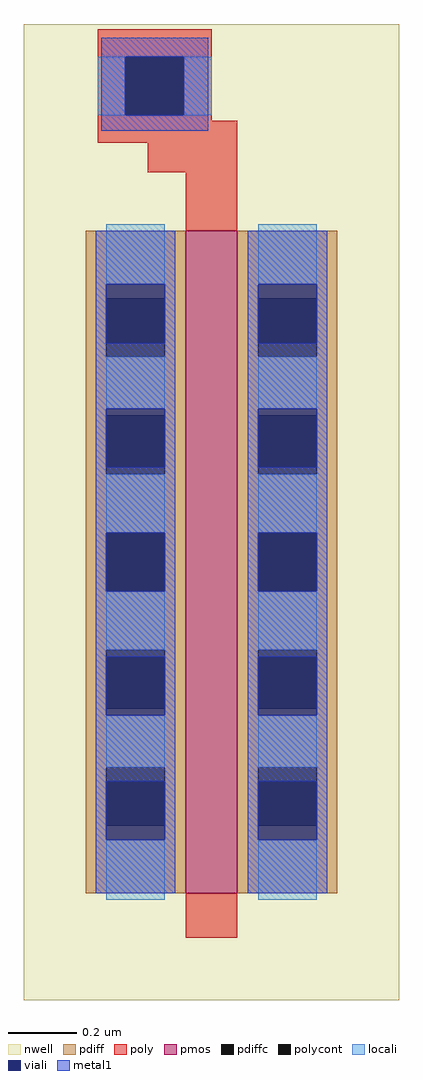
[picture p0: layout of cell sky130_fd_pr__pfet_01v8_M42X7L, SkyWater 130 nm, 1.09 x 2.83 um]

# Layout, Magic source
magic
tech sky130A
magscale 1 2
<< nwell >>
rect -109 -290 109 276
<< pmos >>
rect -15 -228 15 156
<< pdiff >>
rect -73 117 -15 156
rect -73 83 -61 117
rect -27 83 -15 117
rect -73 49 -15 83
rect -73 15 -61 49
rect -27 15 -15 49
rect -73 -19 -15 15
rect -73 -53 -61 -19
rect -27 -53 -15 -19
rect -73 -87 -15 -53
rect -73 -121 -61 -87
rect -27 -121 -15 -87
rect -73 -155 -15 -121
rect -73 -189 -61 -155
rect -27 -189 -15 -155
rect -73 -228 -15 -189
rect 15 117 73 156
rect 15 83 27 117
rect 61 83 73 117
rect 15 49 73 83
rect 15 15 27 49
rect 61 15 73 49
rect 15 -19 73 15
rect 15 -53 27 -19
rect 61 -53 73 -19
rect 15 -87 73 -53
rect 15 -121 27 -87
rect 61 -121 73 -87
rect 15 -155 73 -121
rect 15 -189 27 -155
rect 61 -189 73 -155
rect 15 -228 73 -189
<< pdiffc >>
rect -61 83 -27 117
rect -61 15 -27 49
rect -61 -53 -27 -19
rect -61 -121 -27 -87
rect -61 -189 -27 -155
rect 27 83 61 117
rect 27 15 61 49
rect 27 -53 61 -19
rect 27 -121 61 -87
rect 27 -189 61 -155
<< poly >>
rect -66 257 0 273
rect -66 223 -50 257
rect -16 223 0 257
rect -66 220 0 223
rect -66 207 15 220
rect -37 190 15 207
rect -15 156 15 190
rect -15 -254 15 -228
<< polycont >>
rect -50 223 -16 257
<< locali >>
rect -66 223 -50 257
rect -16 223 0 257
rect -61 125 -27 160
rect -61 53 -27 83
rect -61 -19 -27 15
rect -61 -87 -27 -53
rect -61 -155 -27 -125
rect -61 -232 -27 -197
rect 27 125 61 160
rect 27 53 61 83
rect 27 -19 61 15
rect 27 -87 61 -53
rect 27 -155 61 -125
rect 27 -232 61 -197
<< viali >>
rect -50 223 -16 257
rect -61 117 -27 125
rect -61 91 -27 117
rect -61 49 -27 53
rect -61 19 -27 49
rect -61 -53 -27 -19
rect -61 -121 -27 -91
rect -61 -125 -27 -121
rect -61 -189 -27 -163
rect -61 -197 -27 -189
rect 27 117 61 125
rect 27 91 61 117
rect 27 49 61 53
rect 27 19 61 49
rect 27 -53 61 -19
rect 27 -121 61 -91
rect 27 -125 61 -121
rect 27 -189 61 -163
rect 27 -197 61 -189
<< metal1 >>
rect -64 257 -2 268
rect -64 223 -50 257
rect -16 223 -2 257
rect -64 214 -2 223
rect -67 125 -21 156
rect -67 91 -61 125
rect -27 91 -21 125
rect -67 53 -21 91
rect -67 19 -61 53
rect -27 19 -21 53
rect -67 -19 -21 19
rect -67 -53 -61 -19
rect -27 -53 -21 -19
rect -67 -91 -21 -53
rect -67 -125 -61 -91
rect -27 -125 -21 -91
rect -67 -163 -21 -125
rect -67 -197 -61 -163
rect -27 -197 -21 -163
rect -67 -228 -21 -197
rect 21 125 67 156
rect 21 91 27 125
rect 61 91 67 125
rect 21 53 67 91
rect 21 19 27 53
rect 61 19 67 53
rect 21 -19 67 19
rect 21 -53 27 -19
rect 61 -53 67 -19
rect 21 -91 67 -53
rect 21 -125 27 -91
rect 61 -125 67 -91
rect 21 -163 67 -125
rect 21 -197 27 -163
rect 61 -197 67 -163
rect 21 -228 67 -197
<< end >>
